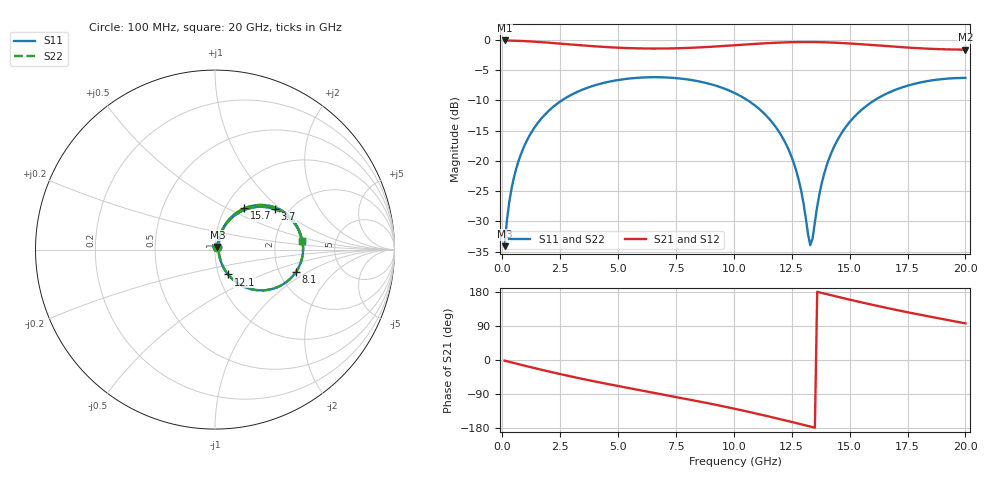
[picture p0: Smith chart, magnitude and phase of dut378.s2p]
! Touchstone file exported from HFSS 2026.1.0
!  File:  C:/ffzhzh/LocalFiles/Ansys_Project_Files/temp_train_TSV_RDL_378_1783042207_4048.aedt
!  Generated:  09:42:40 AM Jul  3, 2026
!  Design:  TSV_RDL
!  Project:  temp_train_TSV_RDL_378_1783042207_4048
! Variables:
!  h_bsmrdl = 5.6um
!  h_ox = 20um
!  h_rdl = 5um
!  h_sub = 69.03um
!  h_tmrdl = 5.91um
!  h_tsv = 69.03um
!  h_via = 3um
!  l_bsmrdl = 355.55um
!  l_sub = 4627.86um
!  l_tmrdl = 754.97um
!  m_sub = 200um
!  pitch = 49.63um
!  r_tsv = 8.26um
!  s_tmrdl = 10um
!  w_bsmrdl = 25.03um
!  w_sub = 500um
!  w_tmrdl = 22.08um
!  x_tsv_center1 = 766.01um
!  x_tsv_center2 = 1146.59um
!  x_tsv_center3 = 1923.64um
!  x_tsv_center4 = 2304.22um
!  x_tsv_center5 = 3081.27um
!  x_tsv_center6 = 3461.85um
# GHz S MA R 50.000000
! Terminal data exported
! Port[1] = TM_RDL1_1_T1
! Port[2] = TM_RDL5_1_T1
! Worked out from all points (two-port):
!   200 points, 100 MHz to 20 GHz, reference 50 ohm
!   highest |S21| = -0.11 dB at 100 MHz (marker M1); lowest = -1.6 dB at 20 GHz (marker M2)
!   |S21| within 3 dB of the highest: start of sweep to end of sweep
!   lowest |S11| = -34.1 dB at 100 MHz (marker M3), VSWR 1.04, Z = 51.3 + j1.52 ohm
!   |S11| at or under -10 dB: start of sweep to 2.578 GHz; 10.6 GHz to 16.07 GHz (5.473 GHz wide, 41 % of centre)
!   |S22| runs from -34.1 to -6.2 dB; largest |S21 - S12| = 6e-14
!   S11 on the Smith chart (normalised r, x): 100 MHz: 1.03, +0.03; 3.7 GHz: 1.70, +0.91; 8.1 GHz: 2.45, -0.79; 12.1 GHz: 1.11, -0.31; 15.7 GHz: 1.22, +0.61; 20 GHz: 2.83, +0.35
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0.1  0.01975 48.5  0.9872 -1.6  0.9872 -1.6  0.01975 48.5
! Gamma 0 0 0 0
! Port Impedance 50 0 50 0
0.3  0.04559 67.4  0.9851 -4.7  0.9851 -4.7  0.04559 67.4
0.5  0.07253 70.5  0.9828 -7.8  0.9828 -7.8  0.07253 70.5
1.1  0.1521 66.7  0.9719 -17.0  0.9719 -17.0  0.1521 66.7
2.1  0.2692 54.2  0.9431 -31.6  0.9431 -31.6  0.2692 54.2
3.5  0.3901 36.3  0.8973 -50.4  0.8973 -50.4  0.3901 36.3
3.7  0.4032 33.9  0.8913 -52.9  0.8913 -52.9  0.4032 33.9
6.8  0.4905 -1.3  0.8462 -89.4  0.8462 -89.4  0.4905 -1.3
8.1  0.4673 -15.7  0.8578 -104.5  0.8578 -104.5  0.4674 -15.7
10.1  0.3583 -39.2  0.9032 -129.5  0.9032 -129.5  0.3583 -39.2
11.2  0.2576 -52.6  0.9322 -144.6  0.9322 -144.6  0.2576 -52.6
12.1  0.156 -62.4  0.9503 -157.6  0.9503 -157.6  0.1561 -62.4
12.8  0.06985 -63.3  0.9576 -168.0  0.9576 -168.0  0.0699 -63.2
13.3  0.02013 -3.1  0.9582 -175.5  0.9582 -175.5  0.02019 -3.2
13.4  0.02283 30.0  0.9578 -177.1  0.9578 -177.1  0.02287 29.8
13.8  0.06583 67.7  0.9547 176.9  0.9547 176.9  0.06581 67.6
14.2  0.1151 69.6  0.9493 171.0  0.9493 171.0  0.1151 69.5
14.8  0.1866 64.9  0.9373 162.2  0.9373 162.2  0.1865 64.8
15.7  0.282 54.6  0.9133 149.5  0.9133 149.5  0.282 54.6
16.7  0.3669 42.6  0.8839 136.1  0.8839 136.1  0.3669 42.6
18.2  0.4499 25.3  0.8472 117.6  0.8472 117.6  0.4499 25.3
20  0.4843 5.6  0.8295 96.7  0.8295 96.7  0.4843 5.5
